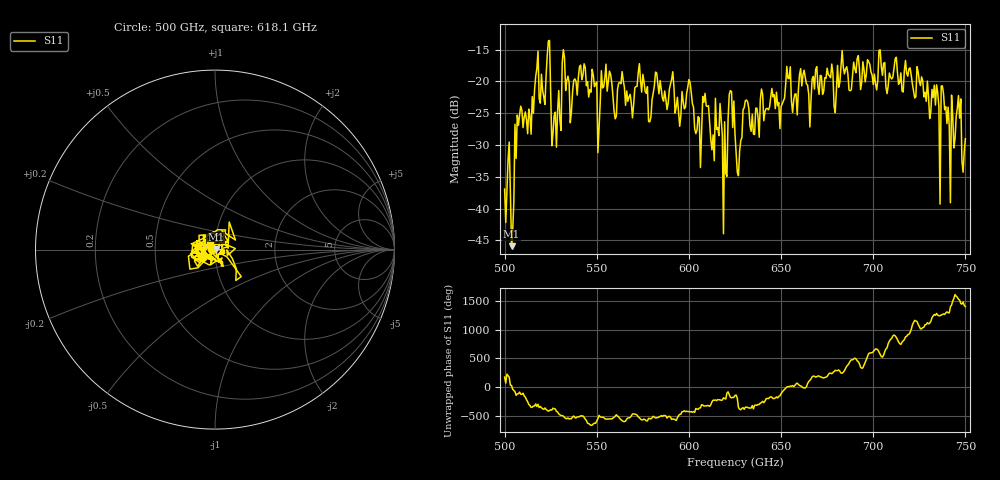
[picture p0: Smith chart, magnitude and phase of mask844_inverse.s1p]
!Created with skrf (http://scikit-rf.org).
# GHz S MA R 50.0
!freq magS11 angS11
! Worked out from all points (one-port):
!   401 points, 500 GHz to 750 GHz, reference 50 ohm
!   lowest |S11| = -45.9 dB at 503.8 GHz (marker M1), VSWR 1.01, Z = 50.4 + j0.264 ohm
!   |S11| at or under -10 dB: start of sweep to end of sweep
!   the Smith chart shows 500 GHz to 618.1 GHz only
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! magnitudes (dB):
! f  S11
! 500 GHz  -36.9
! 503.8 GHz  -45.9
! 508.1 GHz  -25.3
! 523.8 GHz  -13.7
! 526.9 GHz  -25.4
! 531.2 GHz  -17.1
! 542.5 GHz  -19.0
! 550.6 GHz  -31.2
! 562.5 GHz  -20.2
! 593.8 GHz  -22.5
! 600 GHz  -19.7
! 605.6 GHz  -25.8
! 608.8 GHz  -21.9
! 612.5 GHz  -30.8
! 616.9 GHz  -23.5
! 619.4 GHz  -26.4
! 623.1 GHz  -21.6
! 625 GHz  -28.3
! 627.5 GHz  -31.0
! 630.6 GHz  -23.0
! 656.2 GHz  -24.9
! 687.5 GHz  -21.5
! 718.8 GHz  -19.2
! 735 GHz  -21.8
! 738.1 GHz  -21.9
! 743.1 GHz  -25.5
! 746.2 GHz  -22.2
! 750 GHz  -29.0
